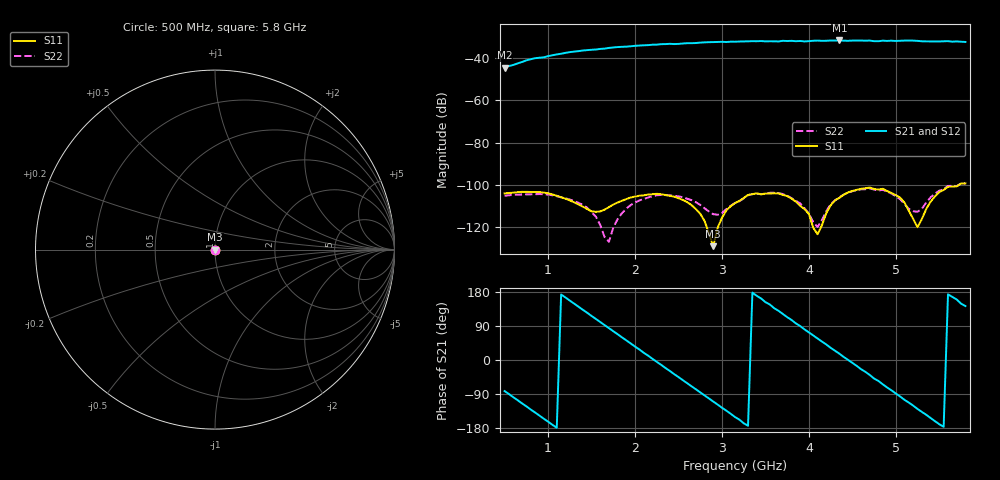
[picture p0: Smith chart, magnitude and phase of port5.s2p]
# GHZ S RI R 50
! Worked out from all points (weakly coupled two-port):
!   107 points, 500 MHz to 5.8 GHz, reference 50 ohm
!   highest |S21| = -31.64 dB at 4.35 GHz (marker M1); lowest = -44.5 dB at 500 MHz (marker M2)
!   lowest |S11| = -129.0 dB at 2.9 GHz (marker M3), VSWR 1.00, Z = 50 - j9.72e-06 ohm
!   |S11| at or under -10 dB: start of sweep to end of sweep
!   |S22| runs from -126.9 to -99.3 dB; largest |S21 - S12| = 0.00051
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0.5  5.3e-06 -3.4e-06  0.000827 -0.0059  0.00083 -0.0059  5.43e-06 -1.17e-06
0.75  1.38e-06 -6.72e-06  -0.00472 -0.0075  -0.00471 -0.00749  4.42e-06 -4.01e-06
0.85  -8.18e-07 -6.75e-06  -0.00745 -0.00659  -0.00744 -0.0066  3.33e-06 -5.03e-06
0.95  -2.48e-06 -6.1e-06  -0.00944 -0.00444  -0.00944 -0.00443  2.18e-06 -5.62e-06
1.2  -3.99e-06 -2.54e-06  -0.0129 0.00346  -0.0129 0.00345  -1.12e-06 -4.7e-06
1.4  -2.86e-06 -1.1e-06  -0.0102 0.0112  -0.0102 0.0112  -2.31e-06 -2.46e-06
1.8  -2.5e-06 -2.91e-06  0.00685 0.0169  0.00687 0.0169  1.23e-06 -9.53e-07
2.3  -5.94e-06 9.08e-07  0.0209 -0.0047  0.0209 -0.00461  -2.12e-06 -5.39e-06
2.9  -3.42e-07 -9.72e-08  -0.00808 -0.0226  -0.00804 -0.0226  -1.92e-06 -6.75e-07
3.15  -3.06e-06 -2.12e-06  -0.0212 -0.012  -0.0212 -0.0122  -2.24e-06 -3e-06
3.55  -5.18e-06 3.46e-06  -0.0209 0.0138  -0.0207 0.014  -6.48e-06 6.11e-07
3.8  -1.63e-06 4.48e-06  -0.00691 0.0247  -0.00701 0.0246  -3.89e-06 2.91e-06
3.95  3.36e-07 2.65e-06  0.00404 0.0245  0.00398 0.0246  -1.27e-06 2.52e-06
4.05  -2.57e-07 9.39e-07  0.0109 0.0233  0.011 0.0233  -9.98e-07 8.56e-07
4.35  -4.94e-06 -6.58e-08  0.0251 0.00754  0.0251 0.00777  -4.67e-06 -2e-06
4.7  -4.98e-06 7.1e-06  0.0201 -0.0166  0.0201 -0.0166  -7.29e-06 3.91e-06
4.75  -3.14e-06 7.39e-06  0.0165 -0.019  0.0164 -0.019  -6.11e-06 4.8e-06
4.95  1.6e-06 6.28e-06  0.0044 -0.0255  0.00443 -0.0255  -2.65e-06 5.62e-06
5.15  2.16e-06 1.12e-06  -0.00995 -0.0241  -0.01 -0.0242  -1.1e-06 2.47e-06
5.4  -3.92e-06 -8.99e-07  -0.0222 -0.0112  -0.0222 -0.0114  -5.06e-06 6.57e-07
5.6  -7.8e-06 4.53e-06  -0.025 0.00296  -0.025 0.00245  -8.1e-06 4.87e-06
5.8  -4.61e-06 9.86e-06  -0.0191 0.0147  -0.0188 0.015  -5.38e-06 9.33e-06
